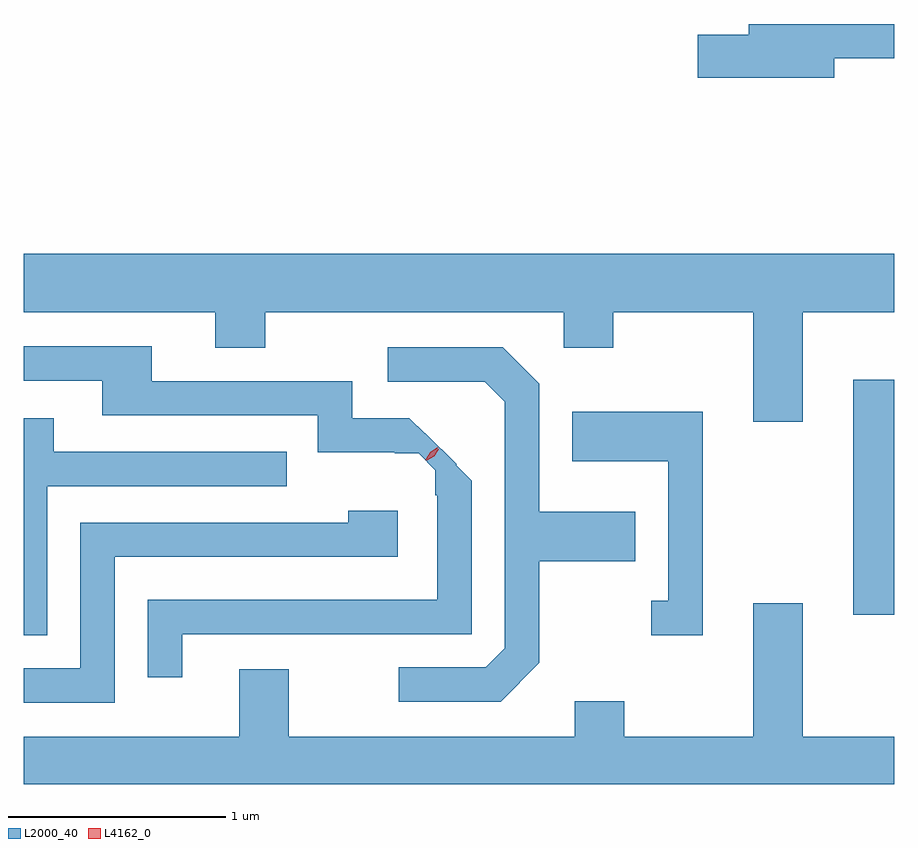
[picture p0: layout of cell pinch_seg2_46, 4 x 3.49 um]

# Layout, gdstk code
import gdstk
lib = gdstk.Library(unit=1e-6, precision=1e-09)
def R(c, l, rs):  # rectangles x0, y0, x1, y1
    for r in rs: c.add(gdstk.rectangle(r[:2], r[2:], *l))
def P(c, l, *ps):  # polygons
    for p in ps: c.add(gdstk.Polygon(p, *l))
L2000_40 = (2000, 40)
L4162_0 = (4162, 0)

pinch_seg2_46 = lib.new_cell('pinch_seg2_46')
R(pinch_seg2_46, L2000_40, [(1227.561,1075.786,1227.75,1076.864)])
P(pinch_seg2_46, L2000_40, [(1227.474,1078.341),(1227.75,1078.341),(1227.75,1078.499),(1227.081,1078.499),(1227.081,1078.449),(1226.846,1078.449),(1226.846,1078.251),(1227.474,1078.251)],
  [(1227.329,1077.176),(1227.75,1077.176),(1227.75,1077.444),(1223.75,1077.444),(1223.75,1077.176),(1224.631,1077.176),(1224.631,1077.011),(1224.859,1077.011),(1224.859,1077.176),(1226.231,1077.176),(1226.231,1077.011),(1226.459,1077.011),(1226.459,1077.176),(1227.101,1077.176),(1227.101,1076.671),(1227.329,1076.671)],
  [(1224.479,1075.696),(1225.809,1075.696),(1225.809,1076.402),(1225.738,1076.473),(1225.74,1076.476),(1225.596,1076.62),(1225.593,1076.618),(1225.522,1076.689),(1225.259,1076.689),(1225.259,1076.859),(1224.339,1076.859),(1224.339,1077.019),(1223.75,1077.019),(1223.75,1076.861),(1224.111,1076.861),(1224.111,1076.701),(1225.101,1076.701),(1225.101,1076.531),(1225.455,1076.531),(1225.455,1076.527),(1225.564,1076.527),(1225.64,1076.45),(1225.64,1076.335),(1225.651,1076.335),(1225.651,1075.854),(1224.321,1075.854),(1224.321,1075.498),(1224.479,1075.498)],
  [(1226.119,1075.564),(1226.119,1076.031),(1226.559,1076.031),(1226.559,1076.259),(1226.119,1076.259),(1226.119,1076.847),(1225.952,1077.014),(1225.423,1077.014),(1225.423,1076.856),(1225.869,1076.856),(1225.961,1076.764),(1225.961,1075.632),(1225.874,1075.544),(1225.473,1075.544),(1225.473,1075.386),(1225.942,1075.386)],
  [(1226.869,1076.719),(1226.271,1076.719),(1226.271,1076.491),(1226.711,1076.491),(1226.711,1075.849),(1226.633,1075.849),(1226.633,1075.691),(1226.869,1075.691)],
  [(1223.859,1076.376),(1224.958,1076.376),(1224.958,1076.534),(1223.889,1076.534),(1223.889,1076.689),(1223.75,1076.689),(1223.75,1075.691),(1223.859,1075.691)],
  [(1224.169,1076.051),(1225.469,1076.051),(1225.469,1076.264),(1225.241,1076.264),(1225.241,1076.209),(1224.011,1076.209),(1224.011,1075.539),(1223.75,1075.539),(1223.75,1075.381),(1224.169,1075.381)],
  [(1227.75,1075.224),(1227.329,1075.224),(1227.329,1075.839),(1227.101,1075.839),(1227.101,1075.224),(1226.509,1075.224),(1226.509,1075.389),(1226.281,1075.389),(1226.281,1075.224),(1224.969,1075.224),(1224.969,1075.534),(1224.741,1075.534),(1224.741,1075.224),(1223.75,1075.224),(1223.75,1075.008),(1227.75,1075.008)])
P(pinch_seg2_46, L4162_0, [(1225.595,1076.494),(1225.595,1076.495),(1225.618,1076.533),(1225.654,1076.557),(1225.655,1076.557),(1225.655,1076.556),(1225.632,1076.519),(1225.596,1076.494)],
  [(1225.603,1076.495),(1225.603,1076.496),(1225.623,1076.528),(1225.656,1076.547),(1225.656,1076.547),(1225.656,1076.546),(1225.637,1076.514),(1225.604,1076.495)])

lib.write_gds('pinch_seg2_46.gds')
